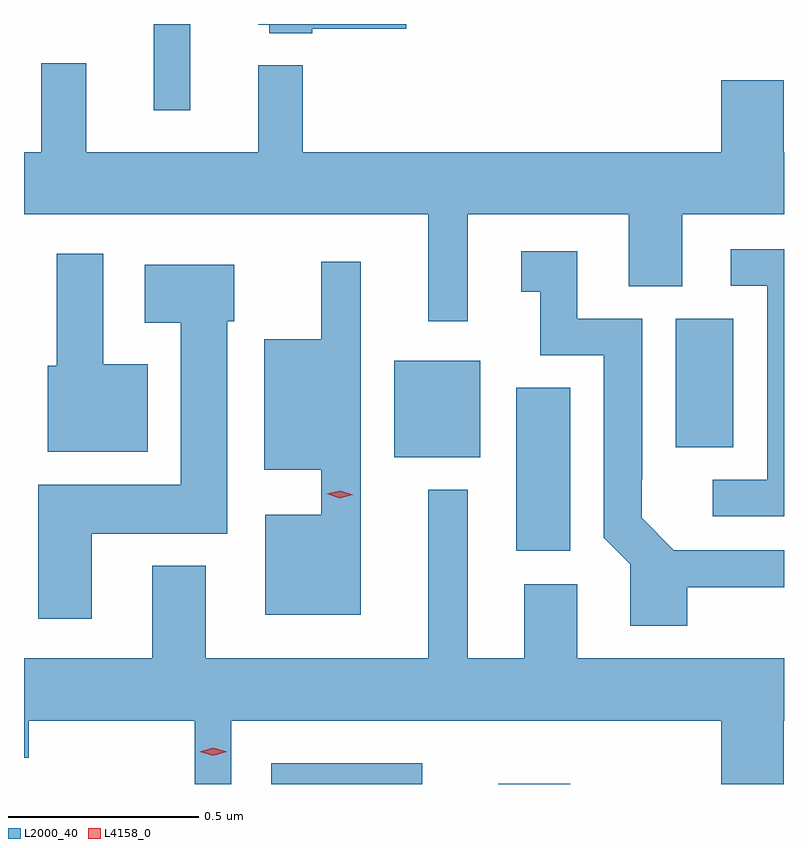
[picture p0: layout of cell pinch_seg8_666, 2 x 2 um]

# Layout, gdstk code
import gdstk
lib = gdstk.Library(unit=1e-6, precision=1e-09)
def R(c, l, rs):  # rectangles x0, y0, x1, y1
    for r in rs: c.add(gdstk.rectangle(r[:2], r[2:], *l))
def P(c, l, *ps):  # polygons
    for p in ps: c.add(gdstk.Polygon(p, *l))
L2000_40 = (2000, 40)
L4158_0 = (4158, 0)

pinch_seg8_666 = lib.new_cell('pinch_seg8_666')
R(pinch_seg8_666, L2000_40, [(247.74,1100.349,248.137,1100.404), (248.337,1100.349,248.527,1100.35), (248.384,1100.963,248.527,1101.392), (248.063,1101.209,248.29,1101.463), (248.804,1101.235,248.956,1101.574), (247.43,1102.122,247.527,1102.349)])
P(pinch_seg8_666, L2000_40, [(247.848,1102.336),(248.095,1102.336),(248.095,1102.349),(247.706,1102.349),(247.706,1102.347),(247.734,1102.347),(247.734,1102.325),(247.848,1102.325)],
  [(248.257,1101.848),(248.681,1101.848),(248.681,1101.659),(248.821,1101.659),(248.821,1101.848),(249.089,1101.848),(249.089,1102.012),(249.088,1102.012),(249.088,1102.201),(248.924,1102.201),(248.924,1102.012),(247.823,1102.012),(247.823,1102.24),(247.706,1102.24),(247.706,1102.012),(247.253,1102.012),(247.253,1102.246),(247.135,1102.246),(247.135,1102.012),(247.089,1102.012),(247.089,1101.848),(248.153,1101.848),(248.153,1101.567),(248.257,1101.567)],
  [(249.089,1101.756),(248.949,1101.756),(248.949,1101.66),(249.045,1101.66),(249.045,1101.15),(248.901,1101.15),(248.901,1101.054),(249.089,1101.054)],
  [(248.834,1100.867),(249.089,1100.867),(249.089,1100.964),(248.799,1100.964),(248.714,1101.05),(248.714,1101.151),(248.716,1101.151),(248.716,1101.573),(248.545,1101.573),(248.545,1101.751),(248.397,1101.751),(248.397,1101.645),(248.447,1101.645),(248.447,1101.477),(248.615,1101.477),(248.615,1100.997),(248.685,1100.927),(248.685,1100.766),(248.834,1100.766)],
  [(247.414,1101.454),(247.297,1101.454),(247.297,1101.745),(247.175,1101.745),(247.175,1101.45),(247.151,1101.45),(247.151,1101.224),(247.414,1101.224)],
  [(247.975,1101.724),(247.871,1101.724),(247.871,1101.52),(247.721,1101.52),(247.721,1101.176),(247.871,1101.176),(247.871,1101.058),(247.724,1101.058),(247.724,1100.795),(247.975,1100.795)],
  [(247.267,1101.008),(247.624,1101.008),(247.624,1101.567),(247.642,1101.567),(247.642,1101.715),(247.407,1101.715),(247.407,1101.563),(247.502,1101.563),(247.502,1101.136),(247.127,1101.136),(247.127,1100.784),(247.267,1100.784)],
  [(247.635,1100.516),(248.924,1100.516),(248.924,1100.349),(249.088,1100.349),(249.088,1100.516),(249.089,1100.516),(249.089,1100.68),(248.545,1100.68),(248.545,1100.875),(248.405,1100.875),(248.405,1100.68),(248.257,1100.68),(248.257,1101.124),(248.153,1101.124),(248.153,1100.68),(247.567,1100.68),(247.567,1100.923),(247.427,1100.923),(247.427,1100.68),(247.089,1100.68),(247.089,1100.418),(247.101,1100.418),(247.101,1100.516),(247.538,1100.516),(247.538,1100.349),(247.635,1100.349)])
P(pinch_seg8_666, L4158_0, [(247.587,1100.424),(247.551,1100.434),(247.551,1100.434),(247.551,1100.434),(247.587,1100.444),(247.623,1100.434),(247.623,1100.434),(247.623,1100.434)],
  [(247.92,1101.101),(247.886,1101.113),(247.886,1101.113),(247.886,1101.113),(247.921,1101.121),(247.954,1101.11),(247.955,1101.11),(247.954,1101.11)])

lib.write_gds('pinch_seg8_666.gds')
